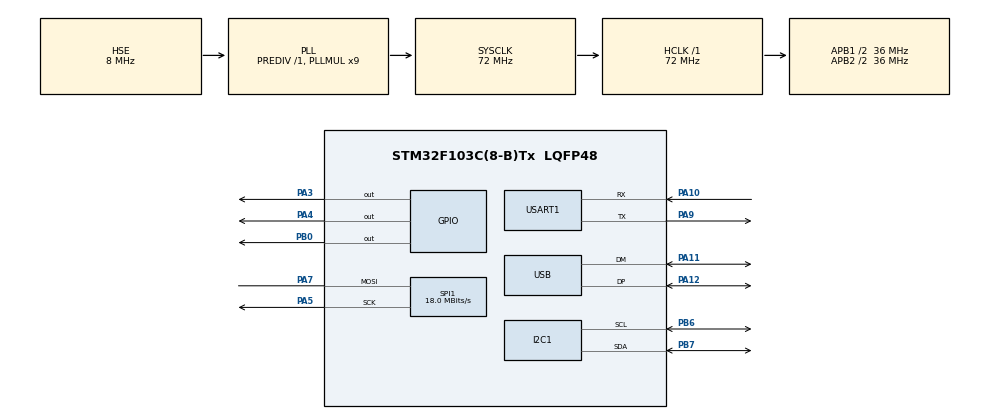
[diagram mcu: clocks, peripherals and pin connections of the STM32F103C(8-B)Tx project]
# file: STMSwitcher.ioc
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Mcu.Family=STM32F1
Mcu.Name=STM32F103C(8-B)Tx
Mcu.Package=LQFP48
NVIC.PriorityGroup=NVIC_PRIORITYGROUP_4
PA10.Mode=Asynchronous
PA10.Signal=USART1_RX
PA11.Mode=Device
PA11.Signal=USB_DM
PA12.Mode=Device
PA12.Signal=USB_DP
PA3.Signal=GPIO_Output
PA4.Signal=GPIO_Output
PA5.Mode=Simplex_Bidirectional_Master
PA5.Signal=SPI1_SCK
PA7.Mode=Simplex_Bidirectional_Master
PA7.Signal=SPI1_MOSI
PA9.Mode=Asynchronous
PA9.Signal=USART1_TX
PB0.Signal=GPIO_Output
PB6.Mode=I2C
PB6.Signal=I2C1_SCL
PB7.Mode=I2C
PB7.Signal=I2C1_SDA
PD0-OSC_IN.Mode=HSE-External-Oscillator
PD0-OSC_IN.Signal=RCC_OSC_IN
PD1-OSC_OUT.Mode=HSE-External-Oscillator
PD1-OSC_OUT.Signal=RCC_OSC_OUT
ProjectManager.HeapSize=0x200
ProjectManager.StackSize=0x400
ProjectManager.TargetToolchain=STM32CubeIDE
RCC.AHBFreq_Value=72000000
RCC.APB1CLKDivider=RCC_HCLK_DIV2
RCC.APB1Freq_Value=36000000
RCC.APB1TimFreq_Value=72000000
RCC.APB2CLKDivider=RCC_HCLK_DIV2
RCC.APB2Freq_Value=36000000
RCC.APB2TimFreq_Value=72000000
RCC.HCLKFreq_Value=72000000
RCC.PLLMUL=RCC_PLL_MUL9
RCC.SYSCLKFreq_VALUE=72000000
RCC.SYSCLKSource=RCC_SYSCLKSOURCE_PLLCLK
RCC.USBFreq_Value=48000000
RCC.USBPrescaler=RCC_USBCLKSOURCE_PLL_DIV1_5
SPI1.BaudRatePrescaler=SPI_BAUDRATEPRESCALER_2
SPI1.CalculateBaudRate=18.0 MBits/s
SPI1.Direction=SPI_DIRECTION_1LINE
SPI1.Mode=SPI_MODE_MASTER
SPI1.VirtualType=VM_MASTER
USART1.VirtualMode=VM_ASYNC
VP_SYS_VS_ND.Mode=No_Debug
board=custom

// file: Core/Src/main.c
/* USER CODE BEGIN Header */
/**
  ******************************************************************************
  * @file           : main.c
  * @brief          : Main program body
  ******************************************************************************
  * @attention
  *
  * Copyright (c) 2026 STMicroelectronics.
  * All rights reserved.
  *
  * This software is licensed under terms that can be found in the LICENSE file
  * in the root directory of this software component.
  * If no LICENSE file comes with this software, it is provided AS-IS.
  *
  ******************************************************************************
  */
/* USER CODE END Header */
#include "main.h"

/* USER CODE BEGIN Includes */
#include <stdio.h>
// NOTE: You must include a standard STM32 HAL SSD1306 library in your project
// (e.g., https://github.com/afaf-buga/stm32-ssd1306)
#include "ssd1306.h"
#include "ssd1306_fonts.h"
/* USER CODE END Includes */

I2C_HandleTypeDef hi2c1;

SPI_HandleTypeDef hspi1;

UART_HandleTypeDef huart1;

PCD_HandleTypeDef hpcd_USB_FS;

/* USER CODE BEGIN PV */
uint8_t midi_rx_byte;
uint8_t current_relay_state = 0x00;
char display_buf[32];
/* USER CODE END PV */

void SystemClock_Config(void);
static void MX_GPIO_Init(void);
static void MX_I2C1_Init(void);
static void MX_SPI1_Init(void);
static void MX_USART1_UART_Init(void);
static void MX_USB_PCD_Init(void);
/* USER CODE BEGIN PFP */
void Update_Relays(uint8_t state);
void MIDI_Process_Byte(uint8_t byte);
/* USER CODE END PFP */

/* USER CODE BEGIN 0 */

/**
 * @brief Sends a byte to the 74HC595 shift register using SPI1
 */
void Update_Relays(uint8_t state)
{
    // Transmit data via SPI (SER -> PA7, SRCLK -> PA5)
    HAL_SPI_Transmit(&hspi1, &state, 1, HAL_MAX_DELAY);

    // Latch the data to the outputs (RCLK -> PA4)
    HAL_GPIO_WritePin(GPIOA, GPIO_PIN_4, GPIO_PIN_SET);
    // Brief delay to ensure latch pin registers high
    for(volatile int i=0; i<100; i++);
    HAL_GPIO_WritePin(GPIOA, GPIO_PIN_4, GPIO_PIN_RESET);
}

/**
 * @brief Basic MIDI parser for Program Change messages
 */
void MIDI_Process_Byte(uint8_t byte)
{
    static uint8_t midi_state = 0;
    static uint8_t status_byte = 0;

    // Check if it's a Status Byte (MSB is 1)
    if (byte >= 0x80)
    {
        status_byte = byte;
        // Check if Program Change (0xCn, where n is channel 0-F)
        if ((status_byte & 0xF0) == 0xC0)
        {
            midi_state = 1; // Expect 1 data byte for PC
        }
        else
        {
            midi_state = 0; // Ignore other messages for now
        }
    }
    // Data byte processing
    else
    {
        if (midi_state == 1 && (status_byte & 0xF0) == 0xC0)
        {
            // Program Change Data Received (Value 0-127)
            current_relay_state = byte;
            Update_Relays(current_relay_state); // Set relays directly to PC value for test

            // Update OLED Display
            ssd1306_Fill(Black);
            ssd1306_SetCursor(2, 10);
            ssd1306_WriteString("MIDI PC Received", Font_7x10, White);

            sprintf(display_buf, "Preset: %d", byte);
            ssd1306_SetCursor(2, 35);
            ssd1306_WriteString(display_buf, Font_11x18, White);
            ssd1306_UpdateScreen();

            midi_state = 0; // Reset state machine
        }
    }
}

/**
 * @brief UART RX Interrupt Callback
 */
void HAL_UART_RxCpltCallback(UART_HandleTypeDef *huart)
{
    if (huart->Instance == USART1)
    {
        // Process incoming MIDI byte
        MIDI_Process_Byte(midi_rx_byte);
        // Start listening for the next byte
        HAL_UART_Receive_IT(&huart1, &midi_rx_byte, 1);
    }
}
/* USER CODE END 0 */

int main(void)
{

  /* MCU Configuration--------------------------------------------------------*/

  /* Reset of all peripherals, Initializes the Flash interface and the Systick. */
  HAL_Init();

  /* Configure the system clock */
  SystemClock_Config();

  /* Initialize all configured peripherals */
  MX_GPIO_Init();
  MX_I2C1_Init();
  MX_SPI1_Init();
  MX_USART1_UART_Init();
  MX_USB_PCD_Init();
  /* USER CODE BEGIN 2 */

  // Set default states for 74HC595 control pins
  HAL_GPIO_WritePin(GPIOA, GPIO_PIN_3, GPIO_PIN_SET);   // SRCLR HIGH: Do not clear shift register
  HAL_GPIO_WritePin(GPIOB, GPIO_PIN_0, GPIO_PIN_RESET); // OE LOW: Enable outputs
  HAL_GPIO_WritePin(GPIOA, GPIO_PIN_4, GPIO_PIN_RESET); // RCLK LOW: Default latch state

  // Clear relays on boot
  Update_Relays(0x00);

  // Initialize OLED
  ssd1306_Init();
  ssd1306_Fill(Black);
  ssd1306_SetCursor(10, 20);
  ssd1306_WriteString("MIDI Looper", Font_11x18, White);
  ssd1306_SetCursor(10, 45);
  ssd1306_WriteString("Waiting...", Font_7x10, White);
  ssd1306_UpdateScreen();

  // Start UART Interrupt Reception for MIDI
  HAL_UART_Receive_IT(&huart1, &midi_rx_byte, 1);

  /* USER CODE END 2 */

  /* Infinite loop */
  while (1)
  {

    /* USER CODE BEGIN 3 */

    /*
     * --- UNCOMMENT THIS BLOCK TO TEST RELAYS & OLED WITHOUT MIDI ---
     * Cycles through relays one by one every 1 second
     */

    /*
    static uint8_t test_val = 1;
    Update_Relays(test_val);

    sprintf(display_buf, "Relay: %02X", test_val);
    ssd1306_Fill(Black);
    ssd1306_SetCursor(10, 30);
    ssd1306_WriteString(display_buf, Font_11x18, White);
    ssd1306_UpdateScreen();

    test_val = (test_val << 1);
    if(test_val == 0) test_val = 1; // Reset after 8th bit

    HAL_Delay(1000);
    */

  }
  /* USER CODE END 3 */
}

void SystemClock_Config(void)
{
  RCC_OscInitTypeDef RCC_OscInitStruct = {0};
  RCC_ClkInitTypeDef RCC_ClkInitStruct = {0};
  RCC_PeriphCLKInitTypeDef PeriphClkInit = {0};

  RCC_OscInitStruct.OscillatorType = RCC_OSCILLATORTYPE_HSE;
  RCC_OscInitStruct.HSEState = RCC_HSE_ON;
  RCC_OscInitStruct.HSEPredivValue = RCC_HSE_PREDIV_DIV1;
  RCC_OscInitStruct.HSIState = RCC_HSI_ON;
  RCC_OscInitStruct.PLL.PLLState = RCC_PLL_ON;
  RCC_OscInitStruct.PLL.PLLSource = RCC_PLLSOURCE_HSE;
  RCC_OscInitStruct.PLL.PLLMUL = RCC_PLL_MUL9;
  if (HAL_RCC_OscConfig(&RCC_OscInitStruct) != HAL_OK)
  {
    Error_Handler();
  }

  RCC_ClkInitStruct.ClockType = RCC_CLOCKTYPE_HCLK|RCC_CLOCKTYPE_SYSCLK
                              |RCC_CLOCKTYPE_PCLK1|RCC_CLOCKTYPE_PCLK2;
  RCC_ClkInitStruct.SYSCLKSource = RCC_SYSCLKSOURCE_PLLCLK;
  RCC_ClkInitStruct.AHBCLKDivider = RCC_SYSCLK_DIV1;
  RCC_ClkInitStruct.APB1CLKDivider = RCC_HCLK_DIV2;
  RCC_ClkInitStruct.APB2CLKDivider = RCC_HCLK_DIV2;

  if (HAL_RCC_ClockConfig(&RCC_ClkInitStruct, FLASH_LATENCY_2) != HAL_OK)
  {
    Error_Handler();
  }
  PeriphClkInit.PeriphClockSelection = RCC_PERIPHCLK_USB;
  PeriphClkInit.UsbClockSelection = RCC_USBCLKSOURCE_PLL_DIV1_5;
  if (HAL_RCCEx_PeriphCLKConfig(&PeriphClkInit) != HAL_OK)
  {
    Error_Handler();
  }
}

static void MX_I2C1_Init(void)
{

  hi2c1.Instance = I2C1;
  hi2c1.Init.ClockSpeed = 100000;
  hi2c1.Init.DutyCycle = I2C_DUTYCYCLE_2;
  hi2c1.Init.OwnAddress1 = 0;
  hi2c1.Init.AddressingMode = I2C_ADDRESSINGMODE_7BIT;
  hi2c1.Init.DualAddressMode = I2C_DUALADDRESS_DISABLE;
  hi2c1.Init.OwnAddress2 = 0;
  hi2c1.Init.GeneralCallMode = I2C_GENERALCALL_DISABLE;
  hi2c1.Init.NoStretchMode = I2C_NOSTRETCH_DISABLE;
  if (HAL_I2C_Init(&hi2c1) != HAL_OK)
  {
    Error_Handler();
  }

}

static void MX_SPI1_Init(void)
{

  /* SPI1 parameter configuration*/
  hspi1.Instance = SPI1;
  hspi1.Init.Mode = SPI_MODE_MASTER;
  hspi1.Init.Direction = SPI_DIRECTION_1LINE;
  hspi1.Init.DataSize = SPI_DATASIZE_8BIT;
  hspi1.Init.CLKPolarity = SPI_POLARITY_LOW;
  hspi1.Init.CLKPhase = SPI_PHASE_1EDGE;
  hspi1.Init.NSS = SPI_NSS_SOFT;
  hspi1.Init.BaudRatePrescaler = SPI_BAUDRATEPRESCALER_2;
  hspi1.Init.FirstBit = SPI_FIRSTBIT_MSB;
  hspi1.Init.TIMode = SPI_TIMODE_DISABLE;
  hspi1.Init.CRCCalculation = SPI_CRCCALCULATION_DISABLE;
  hspi1.Init.CRCPolynomial = 10;
  if (HAL_SPI_Init(&hspi1) != HAL_OK)
  {
    Error_Handler();
  }

}

static void MX_USART1_UART_Init(void)
{

  huart1.Instance = USART1;
  huart1.Init.BaudRate = 31250; // MODIFIED: MIDI Baud Rate
  huart1.Init.WordLength = UART_WORDLENGTH_8B;
  huart1.Init.StopBits = UART_STOPBITS_1;
  huart1.Init.Parity = UART_PARITY_NONE;
  huart1.Init.Mode = UART_MODE_TX_RX;
  huart1.Init.HwFlowCtl = UART_HWCONTROL_NONE;
  huart1.Init.OverSampling = UART_OVERSAMPLING_16;
  if (HAL_UART_Init(&huart1) != HAL_OK)
  {
    Error_Handler();
  }
  /* USER CODE BEGIN USART1_Init 2 */

  // NOTE: If using STMCubeIDE, don't forget to enable USART1 Global Interrupts in the NVIC settings in the .ioc file!

  /* USER CODE END USART1_Init 2 */

}

static void MX_USB_PCD_Init(void)
{

  hpcd_USB_FS.Instance = USB;
  hpcd_USB_FS.Init.dev_endpoints = 8;
  hpcd_USB_FS.Init.speed = PCD_SPEED_FULL;
  hpcd_USB_FS.Init.low_power_enable = DISABLE;
  hpcd_USB_FS.Init.lpm_enable = DISABLE;
  hpcd_USB_FS.Init.battery_charging_enable = DISABLE;
  if (HAL_PCD_Init(&hpcd_USB_FS) != HAL_OK)
  {
    Error_Handler();
  }

}

static void MX_GPIO_Init(void)
{
  GPIO_InitTypeDef GPIO_InitStruct = {0};

  /* GPIO Ports Clock Enable */
  __HAL_RCC_GPIOD_CLK_ENABLE();
  __HAL_RCC_GPIOA_CLK_ENABLE();
  __HAL_RCC_GPIOB_CLK_ENABLE();

  /*Configure GPIO pin Output Level */
  HAL_GPIO_WritePin(GPIOA, GPIO_PIN_3|GPIO_PIN_4, GPIO_PIN_RESET);

  /*Configure GPIO pin Output Level */
  HAL_GPIO_WritePin(GPIOB, GPIO_PIN_0, GPIO_PIN_RESET);

  /*Configure GPIO pins : PA3 PA4 */
  GPIO_InitStruct.Pin = GPIO_PIN_3|GPIO_PIN_4;
  GPIO_InitStruct.Mode = GPIO_MODE_OUTPUT_PP;
  GPIO_InitStruct.Pull = GPIO_NOPULL;
  GPIO_InitStruct.Speed = GPIO_SPEED_FREQ_LOW;
  HAL_GPIO_Init(GPIOA, &GPIO_InitStruct);

  /*Configure GPIO pin : PB0 */
  GPIO_InitStruct.Pin = GPIO_PIN_0;
  GPIO_InitStruct.Mode = GPIO_MODE_OUTPUT_PP;
  GPIO_InitStruct.Pull = GPIO_NOPULL;
  GPIO_InitStruct.Speed = GPIO_SPEED_FREQ_LOW;
  HAL_GPIO_Init(GPIOB, &GPIO_InitStruct);

}

void Error_Handler(void)
{
  __disable_irq();
  while (1)
  {
  }
}
